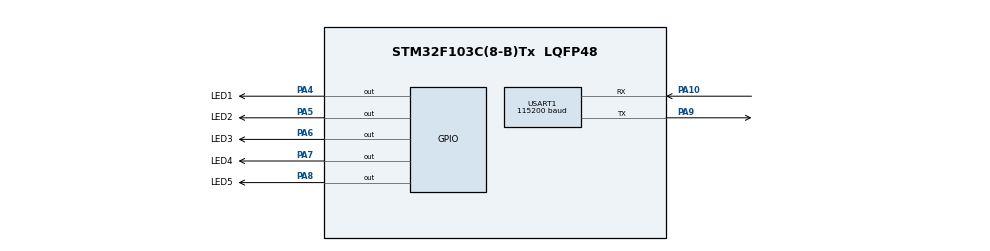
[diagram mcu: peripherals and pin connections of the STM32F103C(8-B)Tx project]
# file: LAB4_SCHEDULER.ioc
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Mcu.Family=STM32F1
Mcu.Name=STM32F103C(8-B)Tx
Mcu.Package=LQFP48
NVIC.PriorityGroup=NVIC_PRIORITYGROUP_4
NVIC.TIM2_IRQn=true\:0\:0\:false\:false\:true\:true\:true\:true
PA10.Mode=Asynchronous
PA10.Signal=USART1_RX
PA13.Mode=Serial_Wire
PA13.Signal=SYS_JTMS-SWDIO
PA14.Mode=Serial_Wire
PA14.Signal=SYS_JTCK-SWCLK
PA4.GPIO_Label=LED1
PA4.Signal=GPIO_Output
PA5.GPIO_Label=LED2
PA5.Signal=GPIO_Output
PA6.GPIO_Label=LED3
PA6.Signal=GPIO_Output
PA7.GPIO_Label=LED4
PA7.Signal=GPIO_Output
PA8.GPIO_Label=LED5
PA8.Signal=GPIO_Output
PA9.Mode=Asynchronous
PA9.Signal=USART1_TX
ProjectManager.HeapSize=0x200
ProjectManager.StackSize=0x400
ProjectManager.TargetToolchain=MDK-ARM V5.32
RCC.APB1Freq_Value=8000000
RCC.APB2Freq_Value=8000000
TIM2.Period=99
TIM2.Prescaler=799
USART1.BaudRate=115200
USART1.VirtualMode=VM_ASYNC
VP_TIM2_VS_ClockSourceINT.Mode=Internal
board=custom

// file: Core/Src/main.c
/* USER CODE BEGIN Header */
/**
  ******************************************************************************
  * @file           : main.c
  * @brief          : Main program body
  ******************************************************************************
  * @attention
  *
  * Copyright (c) 2026 STMicroelectronics.
  * All rights reserved.
  *
  * This software is licensed under terms that can be found in the LICENSE file
  * in the root directory of this software component.
  * If no LICENSE file comes with this software, it is provided AS-IS.
  *
  ******************************************************************************
  */
/* USER CODE END Header */
#include "main.h"

/* USER CODE BEGIN Includes */
#include "scheduler.h"
#include <stdio.h>
#include <string.h>
/* USER CODE END Includes */

TIM_HandleTypeDef htim2;
UART_HandleTypeDef huart1;

/* USER CODE BEGIN PV */
volatile uint32_t system_time_ms = 0;

/* USER CODE END PV */

void SystemClock_Config(void);
static void MX_GPIO_Init(void);
static void MX_TIM2_Init(void);
static void MX_USART1_UART_Init(void);

/* USER CODE BEGIN 0 */

uint32_t get_time(void)
{
    return system_time_ms;
}

/* Luu cac su kien LED va in mot dong lich su moi 10 ms. */
static uint32_t tick_log_time;
static uint8_t tick_log_pending;
static uint8_t log_task[5], log_on[5], log_count;
volatile uint32_t uart_log_dropped;
volatile uint32_t uart_tx_errors;

static void UART_Print_Task(const char *name)
{
    const uint16_t pins[5] = {LED1_Pin, LED2_Pin, LED3_Pin, LED4_Pin, LED5_Pin};
    int index = name[4] - '1';
    if (index < 0 || index >= 5) return;
    if (log_count >= 5) { uart_log_dropped++; return; }

    log_task[log_count] = (uint8_t)index + 1u;
    log_on[log_count] = (GPIOA->ODR & pins[index]) != 0u;
    log_count++;
}

/* Callback cua scheduler, chu ky 1 tick = 10 ms. */
static void Task_Log_10ms(void)
{
    if (tick_log_pending) uart_log_dropped++;
    tick_log_time = get_time();
    tick_log_pending = 1;
}

static void UART_Send_Logs(void)
{
    if (!tick_log_pending) return;

    /* Gop cac task cung tick vao mot dong. */
    char buf[128];
    int length = snprintf(buf, sizeof(buf), "[%lu ms]",
                          (unsigned long)tick_log_time);
    for (uint8_t i = 0; i < log_count; i++) {
        int n = snprintf(buf + length, sizeof(buf) - (size_t)length,
                         " Task%u %s", (unsigned int)log_task[i],
                         log_on[i] ? "ON" : "OFF");
        if (n < 0 || n >= (int)(sizeof(buf) - (size_t)length - 2u)) {
            uart_log_dropped++;
            break;
        }
        length += n;
    }
    buf[length++] = '\r';
    buf[length++] = '\n';
    if (HAL_UART_Transmit(&huart1, (uint8_t *)buf,
                          (uint16_t)length, 10) != HAL_OK)
        uart_tx_errors++;

    log_count = 0;
    tick_log_pending = 0;
}

static void Task1(void)
{
    HAL_GPIO_TogglePin(LED1_GPIO_Port, LED1_Pin);
    UART_Print_Task("Task1");
}

static void Task2(void)
{
    HAL_GPIO_TogglePin(LED2_GPIO_Port, LED2_Pin);
    UART_Print_Task("Task2");
}

static void Task3(void)
{
    HAL_GPIO_TogglePin(LED3_GPIO_Port, LED3_Pin);
    UART_Print_Task("Task3");
}

static void Task4(void)
{
    HAL_GPIO_TogglePin(LED4_GPIO_Port, LED4_Pin);
    UART_Print_Task("Task4");
}

static void Task5(void)
{
    HAL_GPIO_TogglePin(LED5_GPIO_Port, LED5_Pin);
    UART_Print_Task("Task5");
}

/* USER CODE END 0 */

int main(void)
{

  /* MCU Configuration--------------------------------------------------------*/

  /* Reset of all peripherals, Initializes the Flash interface and the Systick. */
  HAL_Init();

  /* Configure the system clock */
  SystemClock_Config();

  /* Initialize all configured peripherals */
  MX_GPIO_Init();
  MX_TIM2_Init();
  MX_USART1_UART_Init();
  /* USER CODE BEGIN 2 */

	SCH_Init();
	SCH_Add_Task(Task1, 0, 50);
	SCH_Add_Task(Task2, 0, 100);
	SCH_Add_Task(Task3, 0, 150);
	SCH_Add_Task(Task4, 0, 200);
	SCH_Add_Task(Task5, 0, 250);
    SCH_Add_Task(Task_Log_10ms, 0, 1);

    SCH_Dispatch_Tasks();
    UART_Send_Logs();
	__HAL_TIM_SET_COUNTER(&htim2, 0u);
    __HAL_TIM_CLEAR_FLAG(&htim2, TIM_FLAG_UPDATE);
    HAL_TIM_Base_Start_IT(&htim2);

  /* USER CODE END 2 */

  /* Infinite loop */
  while (1)
  {

    /* USER CODE BEGIN 3 */
		SCH_Dispatch_Tasks();
        UART_Send_Logs();
  }
  /* USER CODE END 3 */
}

void SystemClock_Config(void)
{
  RCC_OscInitTypeDef RCC_OscInitStruct = {0};
  RCC_ClkInitTypeDef RCC_ClkInitStruct = {0};

  /** Initializes the RCC Oscillators according to the specified parameters
  * in the RCC_OscInitTypeDef structure.
  */
  RCC_OscInitStruct.OscillatorType = RCC_OSCILLATORTYPE_HSI;
  RCC_OscInitStruct.HSIState = RCC_HSI_ON;
  RCC_OscInitStruct.HSICalibrationValue = RCC_HSICALIBRATION_DEFAULT;
  RCC_OscInitStruct.PLL.PLLState = RCC_PLL_NONE;
  if (HAL_RCC_OscConfig(&RCC_OscInitStruct) != HAL_OK)
  {
    Error_Handler();
  }

  /** Initializes the CPU, AHB and APB buses clocks
  */
  RCC_ClkInitStruct.ClockType = RCC_CLOCKTYPE_HCLK|RCC_CLOCKTYPE_SYSCLK
                              |RCC_CLOCKTYPE_PCLK1|RCC_CLOCKTYPE_PCLK2;
  RCC_ClkInitStruct.SYSCLKSource = RCC_SYSCLKSOURCE_HSI;
  RCC_ClkInitStruct.AHBCLKDivider = RCC_SYSCLK_DIV1;
  RCC_ClkInitStruct.APB1CLKDivider = RCC_HCLK_DIV1;
  RCC_ClkInitStruct.APB2CLKDivider = RCC_HCLK_DIV1;

  if (HAL_RCC_ClockConfig(&RCC_ClkInitStruct, FLASH_LATENCY_0) != HAL_OK)
  {
    Error_Handler();
  }
}

static void MX_TIM2_Init(void)
{

  TIM_ClockConfigTypeDef sClockSourceConfig = {0};
  TIM_MasterConfigTypeDef sMasterConfig = {0};

  htim2.Instance = TIM2;
  htim2.Init.Prescaler = 799;
  htim2.Init.CounterMode = TIM_COUNTERMODE_UP;
  htim2.Init.Period = 99;
  htim2.Init.ClockDivision = TIM_CLOCKDIVISION_DIV1;
  htim2.Init.AutoReloadPreload = TIM_AUTORELOAD_PRELOAD_DISABLE;
  if (HAL_TIM_Base_Init(&htim2) != HAL_OK)
  {
    Error_Handler();
  }
  sClockSourceConfig.ClockSource = TIM_CLOCKSOURCE_INTERNAL;
  if (HAL_TIM_ConfigClockSource(&htim2, &sClockSourceConfig) != HAL_OK)
  {
    Error_Handler();
  }
  sMasterConfig.MasterOutputTrigger = TIM_TRGO_RESET;
  sMasterConfig.MasterSlaveMode = TIM_MASTERSLAVEMODE_DISABLE;
  if (HAL_TIMEx_MasterConfigSynchronization(&htim2, &sMasterConfig) != HAL_OK)
  {
    Error_Handler();
  }

}

/** USART1: PA9 TX / PA10 RX, 115200 baud, 8-N-1, polling. */
static void MX_USART1_UART_Init(void)
{
  huart1.Instance = USART1;
  huart1.Init.BaudRate = 115200;
  huart1.Init.WordLength = UART_WORDLENGTH_8B;
  huart1.Init.StopBits = UART_STOPBITS_1;
  huart1.Init.Parity = UART_PARITY_NONE;
  huart1.Init.Mode = UART_MODE_TX_RX;
  huart1.Init.HwFlowCtl = UART_HWCONTROL_NONE;
  huart1.Init.OverSampling = UART_OVERSAMPLING_16;
  if (HAL_UART_Init(&huart1) != HAL_OK) {
    Error_Handler();
  }
}

static void MX_GPIO_Init(void)
{
  GPIO_InitTypeDef GPIO_InitStruct = {0};

  /* GPIO Ports Clock Enable */
  __HAL_RCC_GPIOA_CLK_ENABLE();

  /*Configure GPIO pin Output Level */
  HAL_GPIO_WritePin(GPIOA, LED1_Pin|LED2_Pin|LED3_Pin|LED4_Pin
                          |LED5_Pin, GPIO_PIN_RESET);

  /*Configure GPIO pins : LED1_Pin LED2_Pin LED3_Pin LED4_Pin
                           LED5_Pin */
  GPIO_InitStruct.Pin = LED1_Pin|LED2_Pin|LED3_Pin|LED4_Pin
                          |LED5_Pin;
  GPIO_InitStruct.Mode = GPIO_MODE_OUTPUT_PP;
  GPIO_InitStruct.Pull = GPIO_NOPULL;
  GPIO_InitStruct.Speed = GPIO_SPEED_FREQ_LOW;
  HAL_GPIO_Init(GPIOA, &GPIO_InitStruct);

}

/* USER CODE BEGIN 4 */

// call this function after 1 interrupt = 10ms
void HAL_TIM_PeriodElapsedCallback(TIM_HandleTypeDef *htim)
{
    if (htim->Instance == TIM2) {
        system_time_ms += TICK_MS;
        SCH_Update();
    }
}
/* USER CODE END 4 */

void Error_Handler(void)
{
  __disable_irq();
  while (1)
  {
  }
}
